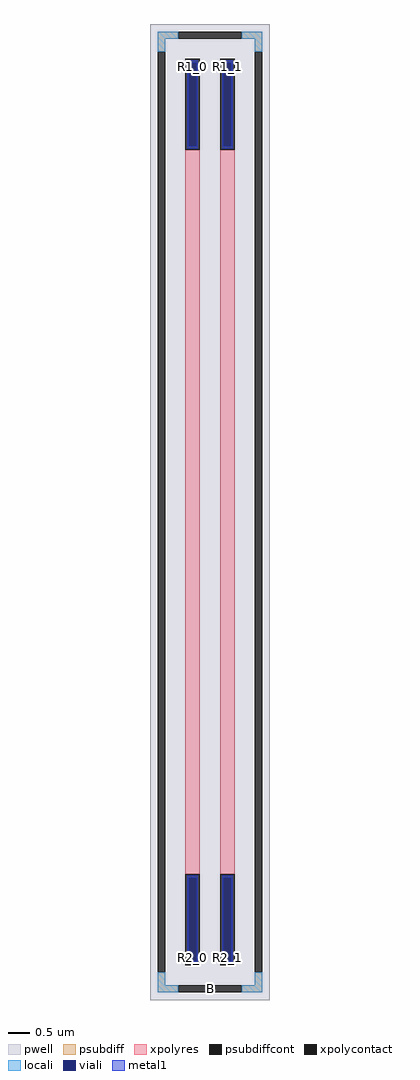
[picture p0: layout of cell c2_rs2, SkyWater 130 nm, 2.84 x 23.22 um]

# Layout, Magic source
magic
tech sky130A
magscale 1 2
<< pwell >>
rect -284 -2322 284 2322
<< psubdiff >>
rect -248 2252 -152 2286
rect 152 2252 248 2286
rect -248 2190 -214 2252
rect 214 2190 248 2252
rect -248 -2252 -214 -2190
rect 214 -2252 248 -2190
rect -248 -2286 -152 -2252
rect 152 -2286 248 -2252
<< psubdiffcont >>
rect -152 2252 152 2286
rect -248 -2190 -214 2190
rect 214 -2190 248 2190
rect -152 -2286 152 -2252
<< xpolycontact >>
rect -118 1724 -48 2156
rect -118 -2156 -48 -1724
rect 48 1724 118 2156
rect 48 -2156 118 -1724
<< xpolyres >>
rect -118 -1724 -48 1724
rect 48 -1724 118 1724
<< locali >>
rect -248 2252 -152 2286
rect 152 2252 248 2286
rect -248 2190 -214 2252
rect 214 2190 248 2252
rect -248 -2252 -214 -2190
rect 214 -2252 248 -2190
rect -248 -2286 -152 -2252
rect 152 -2286 248 -2252
<< viali >>
rect -102 1741 -64 2138
rect 64 1741 102 2138
rect -102 -2138 -64 -1741
rect 64 -2138 102 -1741
<< metal1 >>
rect -108 2138 -58 2150
rect -108 1741 -102 2138
rect -64 1741 -58 2138
rect -108 1729 -58 1741
rect 58 2138 108 2150
rect 58 1741 64 2138
rect 102 1741 108 2138
rect 58 1729 108 1741
rect -108 -1741 -58 -1729
rect -108 -2138 -102 -1741
rect -64 -2138 -58 -1741
rect -108 -2150 -58 -2138
rect 58 -1741 108 -1729
rect 58 -2138 64 -1741
rect 102 -2138 108 -1741
rect 58 -2150 108 -2138
<< labels >>
rlabel psubdiffcont 0 -2269 0 -2269 0 B
port 1 nsew
rlabel xpolycontact -83 2121 -83 2121 0 R1_0
port 2 nsew
rlabel xpolycontact -83 -2121 -83 -2121 0 R2_0
port 3 nsew
rlabel xpolycontact 83 2121 83 2121 0 R1_1
port 4 nsew
rlabel xpolycontact 83 -2121 83 -2121 0 R2_1
port 5 nsew
<< properties >>
string FIXED_BBOX -231 -2269 231 2269
string gencell sky130_fd_pr__res_xhigh_po_0p35
string library sky130
string parameters w 0.35 l 17.4 m 1 nx 2 wmin 0.350 lmin 0.50 class resistor rho 2000 val 100.504k dummy 0 dw 0.0 term 188.2 sterm 0.0 caplen 0 wmax 0.350 guard 1 glc 1 grc 1 gtc 1 gbc 1 compatible {sky130_fd_pr__res_xhigh_po_0p35  sky130_fd_pr__res_xhigh_po_0p69 sky130_fd_pr__res_xhigh_po_1p41  sky130_fd_pr__res_xhigh_po_2p85 sky130_fd_pr__res_xhigh_po_5p73} snake 0 full_metal 1 n_guard 0 hv_guard 0 vias 1 viagb 0 viagt 0 viagl 0 viagr 0 doports 1
<< end >>
